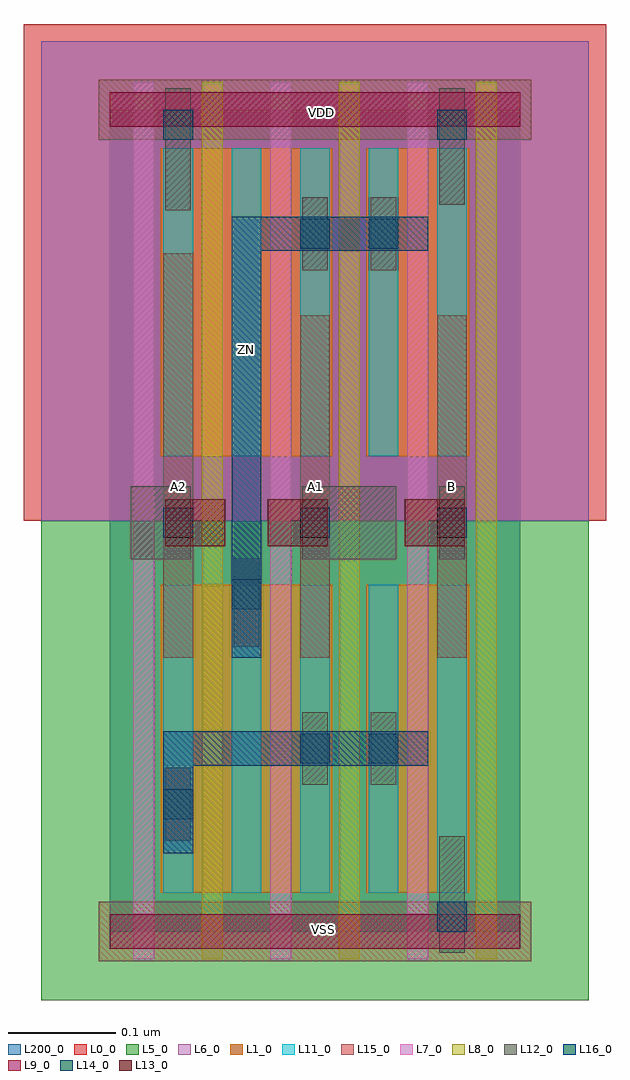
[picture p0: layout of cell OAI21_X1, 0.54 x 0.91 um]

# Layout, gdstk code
import gdstk
lib = gdstk.Library(unit=1e-6, precision=1e-09)
def R(c, l, rs):  # rectangles x0, y0, x1, y1
    for r in rs: c.add(gdstk.rectangle(r[:2], r[2:], *l))
def A(c, l, x, y, w, h, nx, ny, dx, dy):  # array of equal rectangles
    R(c, l, [(x+i*dx, y+j*dy, x+i*dx+w, y+j*dy+h) for i in range(nx) for j in range(ny)])
def P(c, l, *ps):  # polygons
    for p in ps: c.add(gdstk.Polygon(p, *l))
L0_0 = (0, 0)
L1_0 = (1, 0)
L5_0 = (5, 0)
L6_0 = (6, 0)
L7_0 = (7, 0)
L8_0 = (8, 0)
L9_0 = (9, 0)
L11_0 = (11, 0)
L12_0 = (12, 0)
L13_0 = (13, 0)
L14_0 = (14, 0)
L15_0 = (15, 0)
L16_0 = (16, 0)
L200_0 = (200, 0)

oai21_x1 = lib.new_cell('OAI21_X1')
R(oai21_x1, L0_0, [(-0.08,0.384,0.464,0.848)])
R(oai21_x1, L1_0, [(0.048,0.036,0.208,0.324), (0.24,0.036,0.336,0.324), (0.048,0.444,0.208,0.732), (0.24,0.444,0.336,0.732)])
R(oai21_x1, L5_0, [(-0.064,-0.064,0.448,0.384)])
R(oai21_x1, L6_0, [(-0.064,0.384,0.448,0.832)])
A(oai21_x1, L7_0, 0.022, -0.026, 0.02, 0.82, 3, 1, 0.128, 0)
A(oai21_x1, L8_0, 0.086, -0.026, 0.02, 0.82, 3, 1, 0.128, 0)
R(oai21_x1, L9_0, [(0,-0.016,0.384,0.016), (0,0.752,0.384,0.784)])
A(oai21_x1, L11_0, 0.05, 0.036, 0.028, 0.288, 5, 2, 0.064, 0.408)
R(oai21_x1, L12_0, [(0.308,-0.02,0.332,0.089), (0.052,0.085,0.076,0.153), (0.18,0.137,0.204,0.205), (0.244,0.137,0.268,0.205), (0.116,0.266,0.14,0.349), (0.02,0.348,0.076,0.416), (0.18,0.348,0.268,0.416), (0.308,0.348,0.332,0.416), (0.18,0.618,0.204,0.686), (0.244,0.618,0.268,0.686), (0.052,0.674,0.076,0.788), (0.308,0.679,0.332,0.788)])
R(oai21_x1, L13_0, [(0.052,0.36,0.108,0.404), (0.148,0.36,0.204,0.404), (0.276,0.36,0.332,0.404)])
A(oai21_x1, L14_0, 0.05, 0.368, 0.028, 0.028, 3, 1, 0.128, 0)
R(oai21_x1, L14_0, [(0.306,0,0.334,0.028), (0.05,0.105,0.078,0.133), (0.178,0.157,0.206,0.185), (0.242,0.157,0.27,0.185), (0.114,0.301,0.142,0.329), (0.178,0.638,0.206,0.666), (0.242,0.638,0.27,0.666), (0.05,0.74,0.078,0.768), (0.306,0.74,0.334,0.768)])
R(oai21_x1, L15_0, [(-0.01,-0.028,0.394,0.028), (0.05,0.256,0.078,0.634), (0.178,0.256,0.206,0.576), (0.306,0.256,0.334,0.576), (-0.01,0.74,0.394,0.796)])
P(oai21_x1, L16_0, [(0.05,0.073),(0.078,0.073),(0.078,0.155),(0.298,0.155),(0.298,0.187),(0.05,0.187)],
  [(0.114,0.256),(0.142,0.256),(0.142,0.636),(0.298,0.636),(0.298,0.668),(0.114,0.668)])
R(oai21_x1, L200_0, [(0,0,0.384,0.768)])
oai21_x1.add(gdstk.Label('VSS', (0.2,0.002), layer=15, texttype=20))
oai21_x1.add(gdstk.Label('A2', (0.064,0.416), layer=15, texttype=20))
oai21_x1.add(gdstk.Label('A1', (0.192,0.416), layer=15, texttype=20))
oai21_x1.add(gdstk.Label('B', (0.32,0.416), layer=15, texttype=20))
oai21_x1.add(gdstk.Label('VDD', (0.198,0.765), layer=15, texttype=20))
oai21_x1.add(gdstk.Label('ZN', (0.128,0.544), layer=16, texttype=20))

lib.write_gds('OAI21_X1.gds')
